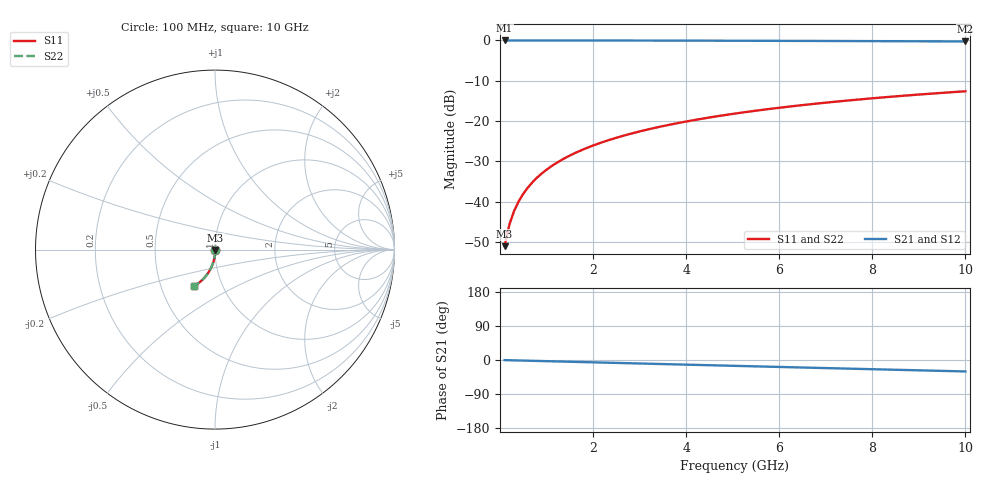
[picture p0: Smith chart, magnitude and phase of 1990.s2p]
# Hz S RI R 50.00
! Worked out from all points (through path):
!   100 points, 100 MHz to 10 GHz, reference 50 ohm
!   highest |S21| = -0.01 dB at 100 MHz (marker M1); lowest = -0.3 dB at 10 GHz (marker M2)
!   group delay of S21, straight-line fit = 8.4 ps
!   lowest |S11| = -51.0 dB at 100 MHz (marker M3), VSWR 1.01, Z = 50.1 - j0.251 ohm
!   |S11| at or under -10 dB: start of sweep to end of sweep
!   |S22| runs from -51.0 to -12.6 dB; largest |S21 - S12| = 0
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1e8  0.0013 -0.0025  0.9987 -0.00535  0.9987 -0.00535  0.0013 -0.0025
2e8  0.00126 -0.005  0.9986 -0.0107  0.9986 -0.0107  0.00126 -0.005
3e8  0.0012 -0.0075  0.9985 -0.0161  0.9985 -0.0161  0.0012 -0.0075
4e8  0.00111 -0.01  0.9984 -0.0214  0.9984 -0.0214  0.00111 -0.01
5e8  0.000988 -0.0125  0.9982 -0.0268  0.9982 -0.0268  0.000988 -0.0125
6e8  0.000841 -0.015  0.998 -0.0321  0.998 -0.0321  0.000841 -0.015
7e8  0.000667 -0.0175  0.9978 -0.0375  0.9978 -0.0375  0.000667 -0.0175
8e8  0.000467 -0.02  0.9975 -0.0428  0.9975 -0.0428  0.000467 -0.02
9e8  0.000239 -0.0225  0.9972 -0.0481  0.9972 -0.0481  0.000239 -0.0225
1.1e9  -0.000297 -0.0275  0.9965 -0.0588  0.9965 -0.0588  -0.000297 -0.0275
1.4e9  -0.0013 -0.0349  0.9952 -0.0748  0.9952 -0.0748  -0.0013 -0.0349
1.8e9  -0.00301 -0.0447  0.9929 -0.096  0.9929 -0.096  -0.00301 -0.0447
2.1e9  -0.00456 -0.0521  0.9909 -0.1119  0.9909 -0.1119  -0.00456 -0.0521
2.5e9  -0.007 -0.0617  0.9877 -0.133  0.9877 -0.133  -0.007 -0.0617
2.9e9  -0.00985 -0.0713  0.9839 -0.154  0.9839 -0.154  -0.00985 -0.0713
3.4e9  -0.014 -0.083  0.9785 -0.18  0.9785 -0.18  -0.014 -0.083
4.2e9  -0.0218 -0.1013  0.9681 -0.221  0.9681 -0.221  -0.0218 -0.1013
5.1e9  -0.0324 -0.1209  0.954 -0.2663  0.954 -0.2663  -0.0324 -0.1209
5.9e9  -0.0433 -0.1373  0.9394 -0.3055  0.9394 -0.3055  -0.0433 -0.1373
6.7e9  -0.0555 -0.1527  0.923 -0.3437  0.923 -0.3437  -0.0555 -0.1527
8.4e9  -0.0851 -0.1814  0.8826 -0.4208  0.8826 -0.4208  -0.0851 -0.1814
1e10  -0.1168 -0.203  0.8385 -0.488  0.8385 -0.488  -0.1168 -0.203
